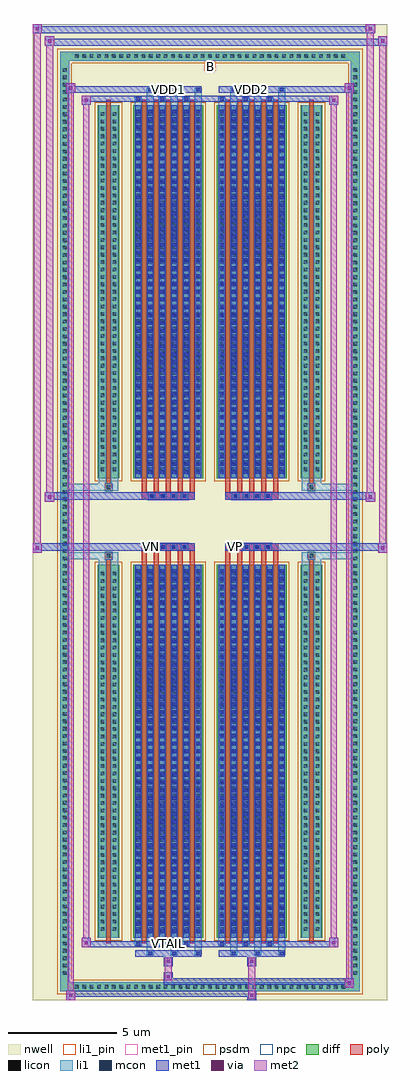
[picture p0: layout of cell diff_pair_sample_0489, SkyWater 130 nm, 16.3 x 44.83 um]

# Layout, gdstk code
import gdstk
lib = gdstk.Library(unit=1e-6, precision=5e-09)
def R(c, l, rs):  # rectangles x0, y0, x1, y1
    for r in rs: c.add(gdstk.rectangle(r[:2], r[2:], *l))
def A(c, l, x, y, w, h, nx, ny, dx, dy):  # array of equal rectangles
    R(c, l, [(x+i*dx, y+j*dy, x+i*dx+w, y+j*dy+h) for i in range(nx) for j in range(ny)])
def P(c, l, *ps):  # polygons
    for p in ps: c.add(gdstk.Polygon(p, *l))
nwell = (64, 20)
diff = (65, 20)
poly = (66, 20)
licon = (66, 44)
li1_pin = (67, 16)
li1 = (67, 20)
mcon = (67, 44)
met1_pin = (68, 16)
met1 = (68, 20)
via = (68, 44)
met2 = (69, 20)
psdm = (94, 20)
npc = (95, 20)

diff_pair_sample_0489 = lib.new_cell('diff_pair_sample_0489')
R(diff_pair_sample_0489, nwell, [(-8.15,-21.98,8.15,22.85), (-5.47,-20.17,-0.01,-0.805), (0.01,-20.17,5.47,-0.805), (-5.47,0.805,-0.01,20.17), (0.01,0.805,5.47,20.17)])
A(diff_pair_sample_0489, diff, -6.325, -21.58, 0.41, 0.41, 37, 2, 0.34, 42.75)
A(diff_pair_sample_0489, diff, -6.88, -20.945, 0.41, 0.41, 1, 123, 0, 0.34)
A(diff_pair_sample_0489, diff, 6.47, -20.945, 0.41, 0.41, 1, 123, 0, 0.34)
R(diff_pair_sample_0489, diff, [(-6.325,-21.58,6.325,-21.17), (-6.88,-20.945,-6.47,20.945), (6.47,-20.945,6.88,20.945), (-5.16,-19.125,-4.16,-1.985), (-3.52,-19.125,-0.32,-1.985), (0.32,-19.125,3.52,-1.985), (4.16,-19.125,5.16,-1.985), (-5.16,1.985,-4.16,19.125), (-3.52,1.985,-0.32,19.125), (0.32,1.985,3.52,19.125), (4.16,1.985,5.16,19.125), (-6.325,21.17,6.325,21.58)])
P(diff_pair_sample_0489, diff, [(6.88,21.58),(-6.88,21.58),(-6.88,-21.17),(-6.47,-21.17),(-6.47,21.17),(6.47,21.17),(6.47,-21.17),(-6.47,-21.17),(-6.88,-21.17),(-6.88,-21.58),(6.88,-21.58)])
A(diff_pair_sample_0489, poly, -3.13, -19.375, 0.22, 17.64, 5, 2, 0.55, 21.11)
A(diff_pair_sample_0489, poly, 0.71, -19.375, 0.22, 17.64, 5, 2, 0.55, 21.11)
A(diff_pair_sample_0489, poly, -3.13, -1.735, 0.22, 0.4, 5, 2, 0.55, 3.07)
A(diff_pair_sample_0489, poly, 0.71, -1.735, 0.22, 0.4, 5, 2, 0.55, 3.07)
A(diff_pair_sample_0489, poly, -2.835, -1.335, 0.33, 0.33, 4, 2, 0.5, 2.34)
A(diff_pair_sample_0489, poly, 1.005, -1.335, 0.33, 0.33, 4, 2, 0.5, 2.34)
R(diff_pair_sample_0489, poly, [(-4.77,-19.375,-4.55,-1.735), (4.55,-19.375,4.77,-1.735), (-4.825,-1.735,-4.495,-1.405), (-4.825,-1.735,-4.495,-1.405), (4.495,-1.735,4.825,-1.405), (4.495,-1.735,4.825,-1.405), (-3.13,-1.335,-0.71,-1.005), (0.71,-1.335,3.13,-1.005), (-3.13,1.005,-0.71,1.335), (0.71,1.005,3.13,1.335), (-4.825,1.405,-4.495,1.735), (-4.825,1.405,-4.495,1.735), (4.495,1.405,4.825,1.735), (4.495,1.405,4.825,1.735), (-4.77,1.735,-4.55,19.375), (4.55,1.735,4.77,19.375)])
A(diff_pair_sample_0489, licon, -6.205, -21.46, 0.17, 0.17, 37, 2, 0.34, 42.75)
A(diff_pair_sample_0489, licon, -6.76, -20.825, 0.17, 0.17, 1, 123, 0, 0.34)
A(diff_pair_sample_0489, licon, 6.59, -20.825, 0.17, 0.17, 1, 123, 0, 0.34)
A(diff_pair_sample_0489, licon, -5.02, -18.8, 0.17, 0.17, 1, 49, 0, 0.34)
A(diff_pair_sample_0489, licon, -4.47, -18.8, 0.17, 0.17, 1, 49, 0, 0.34)
A(diff_pair_sample_0489, licon, -3.38, -18.8, 0.17, 0.17, 6, 49, 0.55, 0.34)
A(diff_pair_sample_0489, licon, 0.46, -18.8, 0.17, 0.17, 6, 49, 0.55, 0.34)
A(diff_pair_sample_0489, licon, 4.3, -18.8, 0.17, 0.17, 1, 49, 0, 0.34)
A(diff_pair_sample_0489, licon, 4.85, -18.8, 0.17, 0.17, 1, 49, 0, 0.34)
A(diff_pair_sample_0489, licon, -2.755, -1.255, 0.17, 0.17, 4, 2, 0.5, 2.34)
A(diff_pair_sample_0489, licon, 1.085, -1.255, 0.17, 0.17, 4, 2, 0.5, 2.34)
A(diff_pair_sample_0489, licon, -5.02, 2.31, 0.17, 0.17, 1, 49, 0, 0.34)
A(diff_pair_sample_0489, licon, -4.47, 2.31, 0.17, 0.17, 1, 49, 0, 0.34)
A(diff_pair_sample_0489, licon, -3.38, 2.31, 0.17, 0.17, 6, 49, 0.55, 0.34)
A(diff_pair_sample_0489, licon, 0.46, 2.31, 0.17, 0.17, 6, 49, 0.55, 0.34)
A(diff_pair_sample_0489, licon, 4.3, 2.31, 0.17, 0.17, 1, 49, 0, 0.34)
A(diff_pair_sample_0489, licon, 4.85, 2.31, 0.17, 0.17, 1, 49, 0, 0.34)
R(diff_pair_sample_0489, licon, [(-4.745,-1.655,-4.575,-1.485), (4.575,-1.655,4.745,-1.485), (-4.745,1.485,-4.575,1.655), (4.575,1.485,4.745,1.655)])
R(diff_pair_sample_0489, li1_pin, [(-0.25,20.67,0.25,21.17)])
A(diff_pair_sample_0489, li1, -6.285, -21.54, 0.33, 0.33, 37, 2, 0.34, 42.75)
A(diff_pair_sample_0489, li1, -6.84, -20.905, 0.33, 0.33, 1, 123, 0, 0.34)
A(diff_pair_sample_0489, li1, 6.51, -20.905, 0.33, 0.33, 1, 123, 0, 0.34)
A(diff_pair_sample_0489, li1, -2.91, -19.93, 0.33, 0.805, 3, 2, 1.1, 39.055)
A(diff_pair_sample_0489, li1, -2.83, -19.93, 0.17, 0.17, 3, 2, 1.1, 39.69)
A(diff_pair_sample_0489, li1, 0.93, -19.93, 0.33, 0.805, 3, 2, 1.1, 39.055)
A(diff_pair_sample_0489, li1, 1.01, -19.93, 0.17, 0.17, 3, 2, 1.1, 39.69)
A(diff_pair_sample_0489, li1, -3.46, -19.5, 0.33, 0.375, 3, 2, 1.1, 38.625)
A(diff_pair_sample_0489, li1, -3.38, -19.5, 0.17, 0.17, 3, 2, 1.1, 38.83)
A(diff_pair_sample_0489, li1, 0.38, -19.5, 0.33, 0.375, 3, 2, 1.1, 38.625)
A(diff_pair_sample_0489, li1, 0.46, -19.5, 0.17, 0.17, 3, 2, 1.1, 38.83)
A(diff_pair_sample_0489, li1, -3.46, -19.125, 0.33, 17.14, 6, 2, 0.55, 21.11)
A(diff_pair_sample_0489, li1, 0.38, -19.125, 0.33, 17.14, 6, 2, 0.55, 21.11)
A(diff_pair_sample_0489, li1, -3.38, -18.92, 0.17, 0.17, 6, 47, 0.55, 0.36)
A(diff_pair_sample_0489, li1, -3.38, -18.92, 0.17, 16.73, 6, 2, 0.55, 21.11)
A(diff_pair_sample_0489, li1, 0.46, -18.92, 0.17, 0.17, 6, 47, 0.55, 0.36)
A(diff_pair_sample_0489, li1, 0.46, -18.92, 0.17, 16.73, 6, 2, 0.55, 21.11)
A(diff_pair_sample_0489, li1, -5.1, -18.88, 0.33, 0.33, 1, 49, 0, 0.34)
A(diff_pair_sample_0489, li1, -4.55, -18.88, 0.33, 0.33, 1, 49, 0, 0.34)
A(diff_pair_sample_0489, li1, -3.46, -18.88, 0.33, 0.33, 6, 49, 0.55, 0.34)
A(diff_pair_sample_0489, li1, 0.38, -18.88, 0.33, 0.33, 6, 49, 0.55, 0.34)
A(diff_pair_sample_0489, li1, 4.22, -18.88, 0.33, 0.33, 1, 49, 0, 0.34)
A(diff_pair_sample_0489, li1, 4.77, -18.88, 0.33, 0.33, 1, 49, 0, 0.34)
A(diff_pair_sample_0489, li1, -2.835, -1.335, 0.33, 0.33, 4, 2, 0.5, 2.34)
A(diff_pair_sample_0489, li1, 1.005, -1.335, 0.33, 0.33, 4, 2, 0.5, 2.34)
A(diff_pair_sample_0489, li1, -3.38, 2.19, 0.17, 0.17, 6, 47, 0.55, 0.36)
A(diff_pair_sample_0489, li1, 0.46, 2.19, 0.17, 0.17, 6, 47, 0.55, 0.36)
A(diff_pair_sample_0489, li1, -5.1, 2.23, 0.33, 0.33, 1, 49, 0, 0.34)
A(diff_pair_sample_0489, li1, -4.55, 2.23, 0.33, 0.33, 1, 49, 0, 0.34)
A(diff_pair_sample_0489, li1, -3.46, 2.23, 0.33, 0.33, 6, 49, 0.55, 0.34)
A(diff_pair_sample_0489, li1, 0.38, 2.23, 0.33, 0.33, 6, 49, 0.55, 0.34)
A(diff_pair_sample_0489, li1, 4.22, 2.23, 0.33, 0.33, 1, 49, 0, 0.34)
A(diff_pair_sample_0489, li1, 4.77, 2.23, 0.33, 0.33, 1, 49, 0, 0.34)
R(diff_pair_sample_0489, li1, [(-6.88,-21.58,-6.47,-21.17), (-6.88,-21.58,-6.47,-21.17), (-6.47,-21.58,6.47,-21.17), (6.47,-21.58,6.88,-21.17), (6.47,-21.58,6.88,-21.17), (-6.88,-21.17,-6.47,21.17), (6.47,-21.17,6.88,21.17), (-5.1,-19.125,-4.77,-1.985), (-4.55,-19.125,-4.22,-1.985), (4.22,-19.125,4.55,-1.985), (4.77,-19.125,5.1,-1.985), (-5.1,-1.985,-4.77,-1.405), (-4.55,-1.985,-4.22,-1.405), (4.22,-1.985,4.55,-1.405), (4.77,-1.985,5.1,-1.405), (-6.88,-1.735,-4.825,-1.405), (-5.1,-1.735,-4.825,-1.405), (-4.825,-1.735,-4.495,-1.405), (-4.495,-1.735,-4.22,-1.405), (4.22,-1.735,4.495,-1.405), (4.495,-1.735,4.825,-1.405), (4.495,-1.735,6.88,-1.405), (4.825,-1.735,5.1,-1.405), (-6.88,1.405,-4.825,1.735), (-5.1,1.405,-4.825,1.735), (-5.1,1.405,-4.77,1.985), (-4.825,1.405,-4.495,1.735), (-4.55,1.405,-4.22,1.985), (-4.495,1.405,-4.22,1.735), (4.22,1.405,4.495,1.735), (4.22,1.405,4.55,1.985), (4.495,1.405,4.825,1.735), (4.495,1.405,6.88,1.735), (4.77,1.405,5.1,1.985), (4.825,1.405,5.1,1.735), (-5.1,1.985,-4.77,19.125), (-4.55,1.985,-4.22,19.125), (4.22,1.985,4.55,19.125), (4.77,1.985,5.1,19.125), (-6.88,21.17,-6.47,21.58), (-6.88,21.17,-6.47,21.58), (-6.47,21.17,6.47,21.58), (6.47,21.17,6.88,21.58), (6.47,21.17,6.88,21.58)])
A(diff_pair_sample_0489, mcon, -2.83, -19.93, 0.17, 0.17, 3, 2, 1.1, 39.69)
A(diff_pair_sample_0489, mcon, 1.01, -19.93, 0.17, 0.17, 3, 2, 1.1, 39.69)
A(diff_pair_sample_0489, mcon, -3.38, -19.5, 0.17, 0.17, 3, 2, 1.1, 38.83)
A(diff_pair_sample_0489, mcon, 0.46, -19.5, 0.17, 0.17, 3, 2, 1.1, 38.83)
A(diff_pair_sample_0489, mcon, -3.38, -18.92, 0.17, 0.17, 6, 47, 0.55, 0.36)
A(diff_pair_sample_0489, mcon, 0.46, -18.92, 0.17, 0.17, 6, 47, 0.55, 0.36)
A(diff_pair_sample_0489, mcon, -2.755, -1.255, 0.17, 0.17, 4, 2, 0.5, 2.34)
A(diff_pair_sample_0489, mcon, 1.085, -1.255, 0.17, 0.17, 4, 2, 0.5, 2.34)
A(diff_pair_sample_0489, mcon, -3.38, 2.19, 0.17, 0.17, 6, 47, 0.55, 0.36)
A(diff_pair_sample_0489, mcon, 0.46, 2.19, 0.17, 0.17, 6, 47, 0.55, 0.36)
R(diff_pair_sample_0489, met1_pin, [(-2.055,-19.54,-1.785,-19.27), (-2.805,-1.295,-2.535,-1.025), (1.035,-1.295,1.305,-1.025), (-2.055,19.72,-1.785,19.99), (1.785,19.72,2.055,19.99)])
A(diff_pair_sample_0489, met1, -2.89, -19.99, 0.29, 0.29, 3, 2, 1.1, 39.69)
A(diff_pair_sample_0489, met1, 0.95, -19.99, 0.29, 0.29, 3, 2, 1.1, 39.69)
A(diff_pair_sample_0489, met1, -3.44, -19.56, 0.29, 0.29, 3, 2, 1.1, 38.83)
A(diff_pair_sample_0489, met1, 0.4, -19.56, 0.29, 0.29, 3, 2, 1.1, 38.83)
A(diff_pair_sample_0489, met1, -3.44, -19.125, 0.29, 17.14, 6, 2, 0.55, 21.11)
A(diff_pair_sample_0489, met1, 0.4, -19.125, 0.29, 17.14, 6, 2, 0.55, 21.11)
A(diff_pair_sample_0489, met1, -3.44, -18.98, 0.29, 0.29, 6, 47, 0.55, 0.36)
A(diff_pair_sample_0489, met1, 0.4, -18.98, 0.29, 0.29, 6, 47, 0.55, 0.36)
A(diff_pair_sample_0489, met1, -2.815, -1.315, 0.29, 0.29, 4, 2, 0.5, 2.34)
A(diff_pair_sample_0489, met1, 1.025, -1.315, 0.29, 0.29, 4, 2, 0.5, 2.34)
A(diff_pair_sample_0489, met1, -3.44, 2.13, 0.29, 0.29, 6, 47, 0.55, 0.36)
A(diff_pair_sample_0489, met1, 0.4, 2.13, 0.29, 0.29, 6, 47, 0.55, 0.36)
R(diff_pair_sample_0489, met1, [(-6.61,-21.98,-6.18,-21.55), (1.705,-21.98,2.135,-21.55), (-6.61,-21.84,2.135,-21.55), (6.18,-21.41,6.61,-20.98), (-2.135,-21.27,6.61,-20.98), (-2.135,-21.13,-1.705,-20.7), (-2.135,-20.42,-1.705,-19.99), (1.705,-20.42,2.135,-19.99), (-3.44,-19.99,-0.4,-19.7), (0.4,-19.99,3.44,-19.7), (-5.9,-19.56,-5.47,-19.13), (-5.9,-19.56,-3.44,-19.27), (-3.44,-19.56,-0.4,-19.27), (-0.4,-19.56,0.4,-19.27), (0.4,-19.56,3.44,-19.27), (3.44,-19.56,5.9,-19.27), (5.47,-19.56,5.9,-19.13), (-8.15,-1.435,-7.72,-1.005), (7.72,-1.435,8.15,-1.005), (-8.15,-1.335,-0.71,-1.005), (-3.13,-1.335,-0.71,-1.005), (0.71,-1.335,3.13,-1.005), (0.71,-1.335,8.15,-1.005), (-7.58,0.905,-7.15,1.335), (7.15,0.905,7.58,1.335), (-7.58,1.005,-3.13,1.335), (-3.13,1.005,-0.71,1.335), (0.71,1.005,3.13,1.335), (3.13,1.005,7.58,1.335), (-5.9,19.13,-5.47,19.56), (5.47,19.13,5.9,19.56), (-5.9,19.27,-3.44,19.56), (-3.44,19.27,-0.4,19.56), (-0.4,19.27,0.4,19.56), (0.4,19.27,3.44,19.56), (3.44,19.27,5.9,19.56), (-6.61,19.7,-6.18,20.13), (-6.61,19.7,-3.44,19.99), (-3.44,19.7,-0.4,19.99), (0.4,19.7,3.44,19.99), (3.44,19.7,6.61,19.99), (6.18,19.7,6.61,20.13), (-7.58,21.85,-7.15,22.28), (-7.58,21.85,-5.47,22.18), (-5.47,21.85,5.47,22.18), (5.47,21.85,8.15,22.18), (7.72,21.85,8.15,22.28), (-8.15,22.42,-7.72,22.85), (-8.15,22.42,-5.47,22.75), (-5.47,22.42,5.47,22.75), (5.47,22.42,7.58,22.75), (7.15,22.42,7.58,22.85)])
R(diff_pair_sample_0489, via, [(-6.47,-21.84,-6.32,-21.69), (1.845,-21.84,1.995,-21.69), (6.32,-21.27,6.47,-21.12), (-1.995,-20.99,-1.845,-20.84), (-1.995,-20.28,-1.845,-20.13), (1.845,-20.28,1.995,-20.13), (-5.76,-19.42,-5.61,-19.27), (5.61,-19.42,5.76,-19.27), (-8.01,-1.295,-7.86,-1.145), (7.86,-1.295,8.01,-1.145), (-7.44,1.045,-7.29,1.195), (7.29,1.045,7.44,1.195), (-5.76,19.27,-5.61,19.42), (5.61,19.27,5.76,19.42), (-6.47,19.84,-6.32,19.99), (6.32,19.84,6.47,19.99), (-7.44,21.99,-7.29,22.14), (7.86,21.99,8.01,22.14), (-8.01,22.56,-7.86,22.71), (7.29,22.56,7.44,22.71)])
R(diff_pair_sample_0489, met2, [(-6.61,-21.98,-6.18,-21.55), (-6.54,-21.98,-6.25,20.13), (-6.25,-21.98,-6.18,-21.55), (-6.56,-21.93,-6.23,-21.6), (1.755,-21.93,2.085,-21.6), (1.755,-21.6,2.085,-20.37), (6.18,-21.41,6.61,-20.98), (6.25,-21.41,6.54,20.13), (6.54,-21.41,6.61,-20.98), (6.23,-21.36,6.56,-21.03), (-2.085,-21.08,-1.755,-20.75), (-2.085,-20.75,-1.755,-20.37), (-2.085,-20.37,-1.755,-20.04), (1.755,-20.37,2.085,-20.04), (-5.9,-19.56,-5.47,-19.13), (-5.83,-19.56,-5.54,19.56), (-5.54,-19.56,-5.47,-19.13), (5.47,-19.56,5.9,-19.13), (5.54,-19.56,5.83,19.56), (5.83,-19.56,5.9,-19.13), (-5.85,-19.51,-5.52,-19.18), (5.52,-19.51,5.85,-19.18), (-8.15,-1.435,-7.72,-1.005), (-8.1,-1.435,-7.77,22.85), (-7.77,-1.435,-7.72,-1.005), (7.72,-1.435,8.15,-1.005), (7.77,-1.435,8.1,22.28), (8.1,-1.435,8.15,-1.005), (-8.1,-1.385,-7.77,-1.055), (7.77,-1.385,8.1,-1.055), (-7.58,0.905,-7.15,1.335), (-7.53,0.905,-7.2,22.28), (-7.2,0.905,-7.15,1.335), (7.15,0.905,7.58,1.335), (7.2,0.905,7.53,22.85), (7.53,0.905,7.58,1.335), (-7.53,0.955,-7.2,1.285), (7.2,0.955,7.53,1.285), (-5.9,19.13,-5.47,19.56), (-5.54,19.13,-5.47,19.56), (5.47,19.13,5.9,19.56), (5.83,19.13,5.9,19.56), (-5.85,19.18,-5.52,19.51), (5.52,19.18,5.85,19.51), (-6.61,19.7,-6.18,20.13), (-6.25,19.7,-6.18,20.13), (6.18,19.7,6.61,20.13), (6.54,19.7,6.61,20.13), (-6.56,19.75,-6.23,20.08), (6.23,19.75,6.56,20.08), (-7.58,21.85,-7.15,22.28), (-7.2,21.85,-7.15,22.28), (7.72,21.85,8.15,22.28), (8.1,21.85,8.15,22.28), (-7.53,21.9,-7.2,22.23), (7.77,21.9,8.1,22.23), (-8.15,22.42,-7.72,22.85), (-7.77,22.42,-7.72,22.85), (7.15,22.42,7.58,22.85), (7.53,22.42,7.58,22.85), (-8.1,22.47,-7.77,22.8), (7.2,22.47,7.53,22.8)])
R(diff_pair_sample_0489, psdm, [(-5.29,-19.255,-4.03,-1.855), (-3.65,-19.255,-0.19,-1.855), (0.19,-19.255,3.65,-1.855), (4.03,-19.255,5.29,-1.855), (-5.29,1.855,-4.03,19.255), (-3.65,1.855,-0.19,19.255), (0.19,1.855,3.65,19.255), (4.03,1.855,5.29,19.255)])
P(diff_pair_sample_0489, psdm, [(7.01,21.71),(-7.01,21.71),(-7.01,-21.04),(-6.34,-21.04),(-6.34,21.04),(6.34,21.04),(6.34,-21.04),(-6.34,-21.04),(-7.01,-21.04),(-7.01,-21.71),(7.01,-21.71)])
A(diff_pair_sample_0489, npc, -2.855, -1.355, 0.37, 0.37, 4, 2, 0.5, 2.34)
A(diff_pair_sample_0489, npc, 0.985, -1.355, 0.37, 0.37, 4, 2, 0.5, 2.34)
R(diff_pair_sample_0489, npc, [(-4.845,-1.755,-4.475,-1.385), (4.475,-1.755,4.845,-1.385), (-2.855,-1.355,-1.985,-0.985), (-2.855,-1.355,-1.985,-0.985), (-2.355,-1.355,-1.485,-0.985), (-2.355,-1.355,-1.485,-0.985), (-1.855,-1.355,-0.985,-0.985), (-1.855,-1.355,-0.985,-0.985), (0.985,-1.355,1.855,-0.985), (0.985,-1.355,1.855,-0.985), (1.485,-1.355,2.355,-0.985), (1.485,-1.355,2.355,-0.985), (1.985,-1.355,2.855,-0.985), (1.985,-1.355,2.855,-0.985), (-2.855,0.985,-1.985,1.355), (-2.855,0.985,-1.985,1.355), (-2.355,0.985,-1.485,1.355), (-2.355,0.985,-1.485,1.355), (-1.855,0.985,-0.985,1.355), (-1.855,0.985,-0.985,1.355), (0.985,0.985,1.855,1.355), (0.985,0.985,1.855,1.355), (1.485,0.985,2.355,1.355), (1.485,0.985,2.355,1.355), (1.985,0.985,2.855,1.355), (1.985,0.985,2.855,1.355), (-4.845,1.385,-4.475,1.755), (4.475,1.385,4.845,1.755)])
diff_pair_sample_0489.add(gdstk.Label('VTAIL', (-1.92,-19.405), layer=68, texttype=5))
diff_pair_sample_0489.add(gdstk.Label('VN', (-2.67,-1.16), layer=68, texttype=5))
diff_pair_sample_0489.add(gdstk.Label('VP', (1.17,-1.16), layer=68, texttype=5))
diff_pair_sample_0489.add(gdstk.Label('B', (0,20.92), layer=67, texttype=5))
diff_pair_sample_0489.add(gdstk.Label('VDD2', (1.92,19.855), layer=68, texttype=5))
diff_pair_sample_0489.add(gdstk.Label('VDD1', (-1.92,19.855), layer=68, texttype=5))

lib.write_gds('diff_pair_sample_0489.gds')
